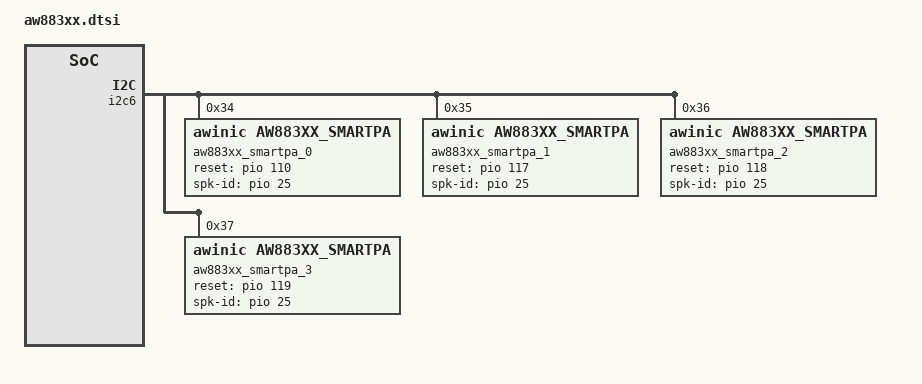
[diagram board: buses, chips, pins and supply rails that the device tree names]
/* AWINIC AW883XX Smart PA stereo*/
&i2c6 {
	pinctrl-names = "default";
	pinctrl-0 = <&spk_id_pin_default>;
	aw883xx_smartpa_0: aw883xx@34 {
		compatible = "awinic,aw883xx_smartpa";
                #sound-dai-cells = <0>;
		reg = <0x34>;
		reset-gpio = <&pio 110 0>;
		spk-id-gpio = <&pio 25 0>;
		sound-channel = <0>;
		spin_data = "L L R R";
		re-min = <1000>;
		re-max= <40000>;
		spin-mode = "reg_spin";
		spin-data = "l l r r";
		status = "okay";
	};
	aw883xx_smartpa_1: aw883xx@35 {
		compatible = "awinic,aw883xx_smartpa";
                #sound-dai-cells = <0>;
		reg = <0x35>;
		reset-gpio = <&pio 117 0>;
		spk-id-gpio = <&pio 25 0>;
		sound-channel = <1>;
		spin_data = "R R L L";
		re-min = <1000>;
		re-max= <40000>;
		spin-mode = "reg_spin";
		spin-data = "r r l l";
		status = "okay";
	};
	aw883xx_smartpa_2: aw883xx@36 {
		compatible = "awinic,aw883xx_smartpa";
                #sound-dai-cells = <0>;
		reg = <0x36>;
		reset-gpio = <&pio 118 0>;
		spk-id-gpio = <&pio 25 0>;
		sound-channel = <2>;
		spin_data = "L R R L";
		re-min = <1000>;
		re-max= <40000>;
		spin-mode = "reg_spin";
		spin-data = "l r r l";
		status = "okay";
	};
	aw883xx_smartpa_3: aw883xx@37 {
		compatible = "awinic,aw883xx_smartpa";
                #sound-dai-cells = <0>;
		reg = <0x37>;
		reset-gpio = <&pio 119 0>;
		spk-id-gpio = <&pio 25 0>;
		sound-channel = <3>;
		spin_data = "R L L R";
		re-min = <1000>;
		re-max= <40000>;
		spin-mode = "reg_spin";
		spin-data = "r l l r";
		status = "okay";
	};
};

&pio {
	spk_id_pin_default: spk_mode_default {
		pins_cmd_dat {
			pinmux = <PINMUX_GPIO25__FUNC_GPIO25>;
			bias-pull-up = <MTK_PUPD_SET_R1R0_10>;
			input-enable;
			drive-strength = <0>;
		};
	};
};
/* AWINIC AW883XX Smart PA stereo End */
